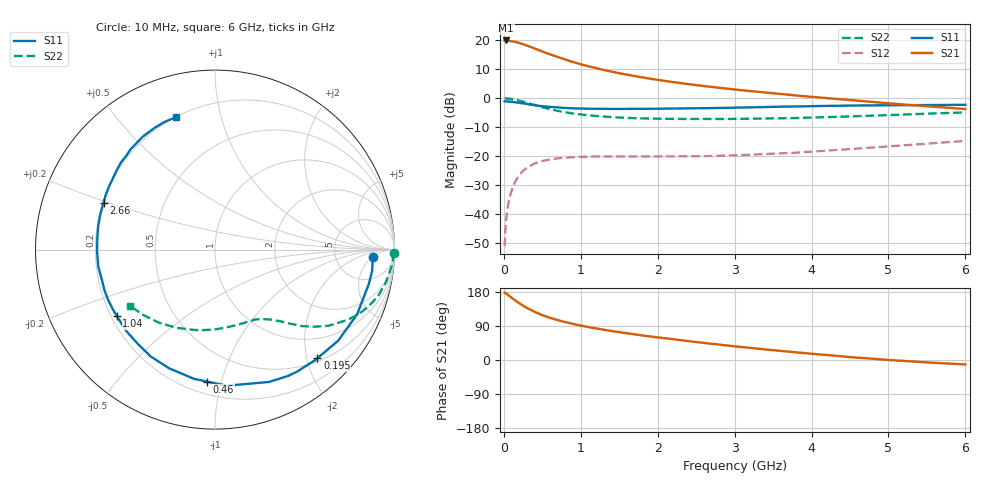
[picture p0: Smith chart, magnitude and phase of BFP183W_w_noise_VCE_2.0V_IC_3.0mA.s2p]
! Infineon Technologies  Discrete & RF Semiconductors
! BFP183W
! VCE = 2.0 V,  IC =  3.0 mA
! Common Emitter S-Parameters:  Jan 2016
# GHz  S  MA  R  50
!  f  S11  S21  S12  S22
! GHz  MAG  ANG  MAG  ANG  MAG  ANG  MAG  ANG
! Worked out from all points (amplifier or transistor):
!   210 points, 10 MHz to 6 GHz, reference 50 ohm
!   highest |S21| = 19.9 dB at 30 MHz (marker M1)
!   |S21| within 3 dB of that: start of sweep to 422.6 MHz
!   unconditionally stable (mu >= 1): 2.094 GHz to end of sweep
!   at 185 MHz: K = 0.11, MSG = 23.2 dB, |S12| = -27.2 dB
!   at 1.52 GHz: K = 0.76, MSG = 14.3 dB, |S12| = -20.1 dB
!   at 6 GHz: K = 1.01, MAG = 5.0 dB, |S12| = -14.8 dB
!   lowest NFmin = 1.10 dB at 450 MHz
!   S11 on the Smith chart (normalised r, x): 10 MHz: 14, -5; 195 MHz: 0.56, -2.20; 460 MHz: 0.28, -0.90; 1.04 GHz: 0.22, -0.29; 2.66 GHz: 0.20, +0.19; 6 GHz: 0.20, +0.73
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0.01  0.883 -2.5  9.826 177.7  0.0028 90.1  0.9952 -1.1
0.03  0.8834 -7.7  9.909 175.4  0.0078 86.5  0.993 -3.4
0.1  0.8701 -24.5  9.638 164.5  0.0251 76.5  0.97 -10.8
0.15  0.8534 -36.5  9.384 156.7  0.0367 70.0  0.9443 -16.0
0.195  0.8315 -46.7  9.004 150.4  0.0458 64.7  0.9133 -20.0
0.24  0.8194 -56.1  8.636 144.8  0.0539 60.0  0.8805 -23.8
0.3  0.7964 -67.8  8.079 137.3  0.0633 54.1  0.8336 -28.1
0.4  0.7611 -85.0  7.213 127.0  0.0748 46.0  0.7609 -33.9
0.46  0.7367 -93.4  6.703 122.0  0.0794 42.3  0.7225 -36.3
0.5  0.7296 -99.2  6.395 118.3  0.0826 40.1  0.6977 -38.0
0.6  0.7089 -111.1  5.705 111.2  0.0881 34.9  0.6457 -41.3
0.7  0.6948 -121.1  5.14 105.2  0.0917 31.4  0.6039 -43.6
0.82  0.6758 -131.3  4.535 98.8  0.0945 27.8  0.5649 -46.1
1.02  0.661 -144.8  3.779 90.0  0.0974 23.7  0.5197 -49.5
1.04  0.6602 -146.0  3.722 89.3  0.0976 23.4  0.5164 -49.7
1.4  0.6525 -163.9  2.869 76.4  0.0993 19.5  0.4737 -54.9
2.02  0.659 174.0  2.052 59.0  0.099 19.1  0.4425 -64.4
2.66  0.6736 157.1  1.584 43.7  0.1005 22.3  0.4363 -75.8
3.1  0.6898 147.2  1.368 34.1  0.1047 25.1  0.4397 -84.6
4.1  0.7328 128.6  1.029 14.8  0.122 31.3  0.4656 -106.9
5.1  0.7585 115.3  0.796 -1.2  0.1507 33.4  0.5179 -129.7
6  0.7694 106.4  0.65 -11.8  0.1829 32.2  0.5692 -146.8
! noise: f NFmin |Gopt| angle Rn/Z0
0.45  1.1  0.37  35  0.3
0.9  1.15  0.34  85  0.23
1.8  1.9  0.35  160  0.13
